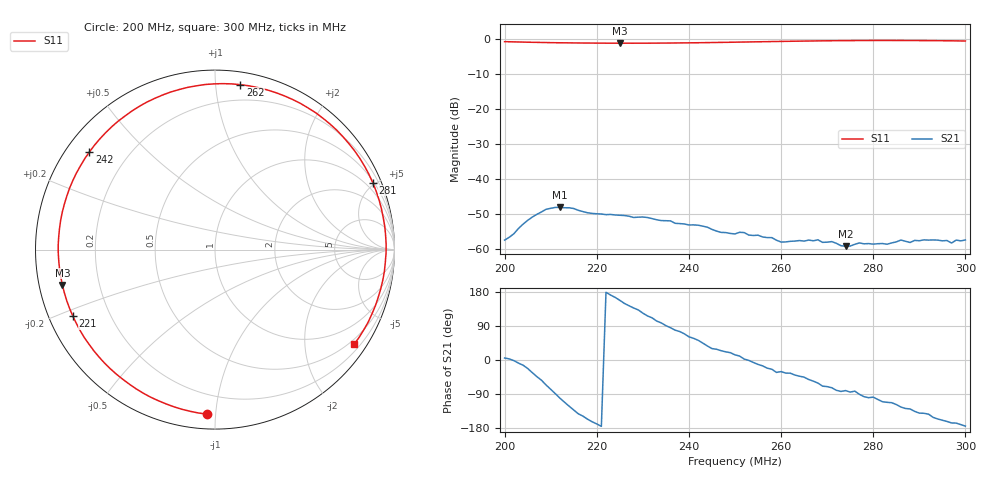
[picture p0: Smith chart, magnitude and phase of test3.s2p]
# HZ S RI R 50
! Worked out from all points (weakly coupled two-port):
!   101 points, 200 MHz to 300 MHz, reference 50 ohm
!   highest |S21| = -48.09 dB at 212 MHz (marker M1); lowest = -59.2 dB at 274 MHz (marker M2)
!   lowest |S11| = -1.2 dB at 225 MHz (marker M3), VSWR 14.71, Z = 3.44 - j5.68 ohm
!   |S11| at or under -10 dB: nowhere
!   S12 and S22 are empty: the file has one direction only
!   S11 on the Smith chart (normalised r, x): 200 MHz: 0.08, -0.95; 221 MHz: 0.07, -0.22; 242 MHz: 0.07, +0.34; 262 MHz: 0.09, +1.16; 281 MHz: 0.57, +4.85; 300 MHz: 0.36, -3.20
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2e8  -0.0424 -0.9166  0.00134 0.000123  0 0  0 0
2.07e8  -0.3591 -0.8219  0.00226 -0.00217  0 0  0 0
2.09e8  -0.4393 -0.7759  0.00151 -0.00338  0 0  0 0
2.12e8  -0.5488 -0.6945  -0.000725 -0.00387  0 0  0 0
2.17e8  -0.7025 -0.5264  -0.00291 -0.00181  0 0  0 0
2.21e8  -0.7929 -0.3691  -0.00316 -0.000267  0 0  0 0
2.25e8  -0.8503 -0.1965  -0.00281 0.00116  0 0  0 0
2.34e8  -0.8508 0.2092  -0.00035 0.00253  0 0  0 0
2.42e8  -0.6995 0.5441  0.00135 0.00173  0 0  0 0
2.5e8  -0.4219 0.798  0.0016 0.000386  0 0  0 0
2.52e8  -0.3367 0.8422  0.00172 7.36e-05  0 0  0 0
2.56e8  -0.1533 0.9036  0.00143 -0.000399  0 0  0 0
2.62e8  0.1421 0.9188  0.00106 -0.000736  0 0  0 0
2.67e8  0.3836 0.8578  0.000737 -0.00109  0 0  0 0
2.71e8  0.5618 0.762  0.000369 -0.00122  0 0  0 0
2.74e8  0.6787 0.6651  0.000179 -0.00108  0 0  0 0
2.77e8  0.7789 0.5487  -1.21e-05 -0.00122  0 0  0 0
2.81e8  0.8788 0.3731  -0.000292 -0.00116  0 0  0 0
2.84e8  0.9266 0.2301  -0.000472 -0.00113  0 0  0 0
2.92e8  0.9351 -0.1694  -0.00107 -0.00081  0 0  0 0
2.97e8  0.8536 -0.4037  -0.00118 -0.000293  0 0  0 0
3e8  0.7748 -0.5285  -0.00134 -0.00013  0 0  0 0
